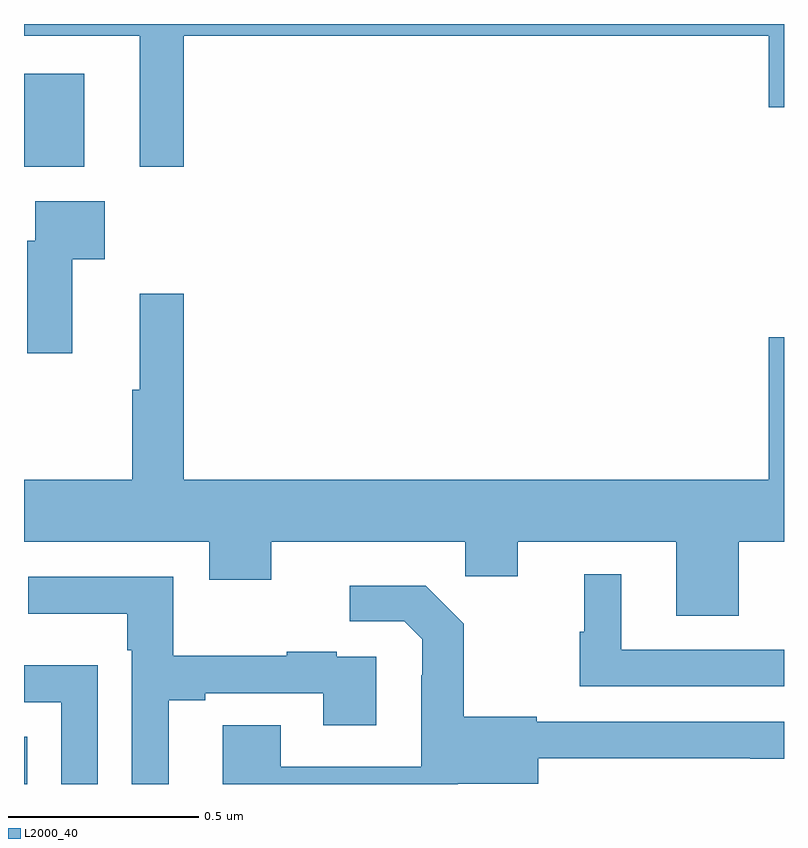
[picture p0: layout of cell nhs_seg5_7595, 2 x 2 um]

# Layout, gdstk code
import gdstk
lib = gdstk.Library(unit=1e-6, precision=1e-09)
def R(c, l, rs):  # rectangles x0, y0, x1, y1
    for r in rs: c.add(gdstk.rectangle(r[:2], r[2:], *l))
def P(c, l, *ps):  # polygons
    for p in ps: c.add(gdstk.Polygon(p, *l))
L2000_40 = (2000, 40)

nhs_seg5_7595 = lib.new_cell('nhs_seg5_7595')
R(nhs_seg5_7595, L2000_40, [(211,846.799,211.008,846.924), (211,848.423,211.159,848.668)])
P(nhs_seg5_7595, L2000_40, [(211.421,848.768),(212.96,848.768),(212.96,848.58),(213,848.58),(213,848.799),(211,848.799),(211,848.768),(211.304,848.768),(211.304,848.424),(211.421,848.424)],
  [(211.127,848.18),(211.213,848.18),(211.213,848.332),(211.029,848.332),(211.029,848.228),(211.009,848.228),(211.009,847.932),(211.127,847.932)],
  [(211.421,848.089),(211.304,848.089),(211.304,847.836),(211.285,847.836),(211.285,847.6),(211,847.6),(211,847.436),(211.487,847.436),(211.487,847.337),(211.651,847.337),(211.651,847.436),(212.161,847.436),(212.161,847.346),(212.299,847.346),(212.299,847.436),(212.717,847.436),(212.717,847.242),(212.881,847.242),(212.881,847.436),(213,847.436),(213,847.975),(212.96,847.975),(212.96,847.6),(211.421,847.6)],
  [(213,847.152),(212.572,847.152),(212.572,847.351),(212.474,847.351),(212.474,847.2),(212.463,847.2),(212.463,847.056),(213,847.056)],
  [(211.381,847.02),(211.477,847.02),(211.477,847.038),(211.787,847.038),(211.787,846.954),(211.927,846.954),(211.927,847.134),(211.823,847.134),(211.823,847.147),(211.691,847.147),(211.691,847.136),(211.393,847.136),(211.393,847.344),(211.011,847.344),(211.011,847.247),(211.272,847.247),(211.272,847.151),(211.284,847.151),(211.284,846.799),(211.381,846.799)],
  [(212.142,846.8),(212.353,846.8),(212.353,846.867),(212.911,846.867),(212.911,846.866),(213,846.866),(213,846.963),(212.349,846.963),(212.349,846.976),(212.157,846.976),(212.157,847.221),(212.057,847.321),(211.857,847.321),(211.857,847.227),(212.001,847.227),(212.048,847.18),(212.048,847.085),(212.046,847.085),(212.046,846.844),(211.675,846.844),(211.675,846.953),(211.523,846.953),(211.523,846.799),(212.142,846.799)],
  [(211.194,847.111),(211,847.111),(211,847.014),(211.098,847.014),(211.098,846.799),(211.194,846.799)])

lib.write_gds('nhs_seg5_7595.gds')
